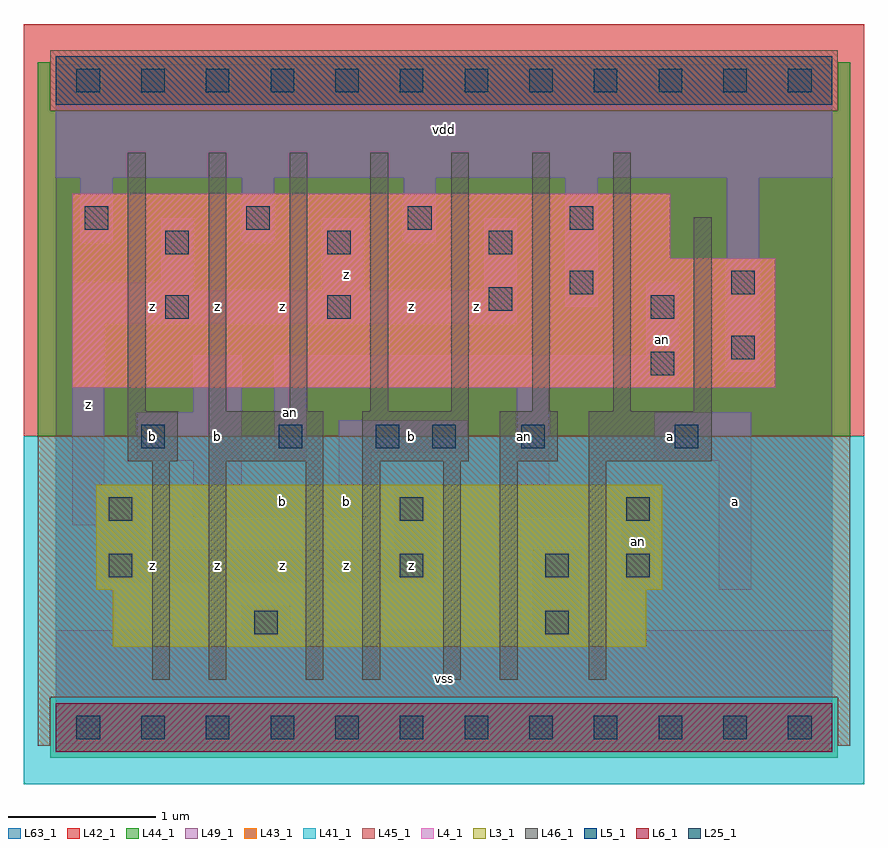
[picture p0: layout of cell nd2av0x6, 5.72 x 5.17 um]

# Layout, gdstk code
import gdstk
lib = gdstk.Library(unit=1e-6, precision=1e-09)
def R(c, l, rs):  # rectangles x0, y0, x1, y1
    for r in rs: c.add(gdstk.rectangle(r[:2], r[2:], *l))
def A(c, l, x, y, w, h, nx, ny, dx, dy):  # array of equal rectangles
    R(c, l, [(x+i*dx, y+j*dy, x+i*dx+w, y+j*dy+h) for i in range(nx) for j in range(ny)])
L3_1 = (3, 1)
L4_1 = (4, 1)
L5_1 = (5, 1)
L6_1 = (6, 1)
L25_1 = (25, 1)
L41_1 = (41, 1)
L42_1 = (42, 1)
L43_1 = (43, 1)
L44_1 = (44, 1)
L45_1 = (45, 1)
L46_1 = (46, 1)
L49_1 = (49, 1)
L63_1 = (63, 1)

nd2av0x6 = lib.new_cell('nd2av0x6')
R(nd2av0x6, L3_1, [(0.385,0.55,4.015,0.935), (0.275,0.935,4.125,1.65)])
R(nd2av0x6, L4_1, [(0.11,2.31,4.895,3.19), (0.11,3.19,4.18,3.63)])
R(nd2av0x6, L5_1, [(0,4.235,5.28,4.565)])
R(nd2av0x6, L6_1, [(0,-0.165,5.28,0.165)])
A(nd2av0x6, L25_1, 0.14, -0.08, 0.16, 0.16, 12, 2, 0.44, 4.4)
A(nd2av0x6, L25_1, 0.745, 3.22, 0.16, 0.16, 3, 1, 1.1, 0)
A(nd2av0x6, L25_1, 0.195, 3.385, 0.16, 0.16, 4, 1, 1.1, 0)
R(nd2av0x6, L25_1, [(1.35,0.635,1.51,0.795), (3.33,0.635,3.49,0.795), (0.36,1.02,0.52,1.18), (2.34,1.02,2.5,1.18), (3.33,1.02,3.49,1.18), (3.88,1.02,4.04,1.18), (0.36,1.405,0.52,1.565), (2.34,1.405,2.5,1.565), (3.88,1.405,4.04,1.565), (0.58,1.9,0.74,2.06), (1.515,1.9,1.675,2.06), (2.175,1.9,2.335,2.06), (2.56,1.9,2.72,2.06), (3.165,1.9,3.325,2.06), (4.21,1.9,4.37,2.06), (4.045,2.395,4.205,2.555), (4.595,2.505,4.755,2.665), (0.745,2.78,0.905,2.94), (1.845,2.78,2.005,2.94), (4.045,2.78,4.205,2.94), (2.945,2.835,3.105,2.995), (3.495,2.945,3.655,3.105), (4.595,2.945,4.755,3.105)])
R(nd2av0x6, L41_1, [(-0.22,-0.385,5.5,1.98)])
R(nd2av0x6, L42_1, [(-0.22,1.98,5.5,4.785)])
R(nd2av0x6, L43_1, [(0,-0.165,5.28,0.165), (0.385,0.55,4.015,0.935), (0.275,0.935,4.125,1.65), (0.11,2.31,4.895,3.19), (0.11,3.19,4.18,3.63), (0,4.235,5.28,4.565)])
R(nd2av0x6, L44_1, [(-0.04,-0.205,5.32,0.205), (-0.125,1.98,5.405,4.195), (-0.125,4.195,-0.04,4.525), (5.32,4.195,5.405,4.525)])
R(nd2av0x6, L45_1, [(-0.125,-0.125,-0.04,0.205), (5.32,-0.125,5.405,0.205), (-0.125,0.205,5.405,1.98), (-0.04,4.195,5.32,4.605)])
A(nd2av0x6, L46_1, 0.49, 2.15, 0.12, 1.76, 7, 1, 0.55, 0)
R(nd2av0x6, L46_1, [(0.655,0.325,0.775,1.81), (1.04,0.325,1.16,1.81), (1.7,0.325,1.82,1.81), (2.085,0.325,2.205,1.81), (2.635,0.325,2.755,1.81), (3.02,0.325,3.14,1.81), (3.625,0.325,3.745,1.81), (0.49,1.81,0.83,2.15), (1.04,1.81,1.82,2.15), (2.085,1.81,2.81,2.15), (3.02,1.81,3.415,2.15), (3.625,1.81,4.46,2.15), (4.34,2.15,4.46,3.47)])
A(nd2av0x6, L49_1, 0.165, 3.3, 0.22, 0.44, 3, 1, 1.1, 0)
R(nd2av0x6, L49_1, [(0,-0.11,5.28,0.66), (1.265,0.66,1.595,0.825), (3.245,0.66,3.575,1.21), (3.85,0.935,4.07,1.43), (4.51,0.935,4.73,1.815), (0.275,0.99,2.585,1.21), (0.275,1.21,0.605,1.375), (2.31,1.21,2.585,1.65), (0.11,1.375,0.605,1.595), (0.935,1.43,2.145,1.65), (3.135,1.43,4.07,1.65), (0.11,1.595,0.33,2.75), (0.935,1.65,1.265,1.815), (1.925,1.65,2.145,1.87), (3.135,1.65,3.355,2.31), (0.55,1.815,1.265,2.145), (1.485,1.815,1.705,2.31), (4.07,1.815,4.73,2.145), (1.925,1.87,2.805,2.09), (0.935,2.145,1.265,2.53), (1.485,2.31,4.235,2.53), (4.565,2.42,4.785,3.74), (4.015,2.53,4.235,3.025), (0.11,2.75,3.135,2.97), (3.465,2.86,3.685,3.74), (0.11,2.97,0.935,3.025), (1.815,2.97,2.09,3.465), (2.915,2.97,3.135,3.465), (0.715,3.025,0.935,3.465), (0,3.74,5.28,4.51)])
R(nd2av0x6, L63_1, [(0,0,5.28,4.4)])
nd2av0x6.add(gdstk.Label('an', (3.19,1.98), layer=49, texttype=1))
nd2av0x6.add(gdstk.Label('z', (0.66,1.1), layer=49, texttype=1))
nd2av0x6.add(gdstk.Label('z', (0.22,2.2), layer=49, texttype=1))
nd2av0x6.add(gdstk.Label('b', (0.66,1.98), layer=49, texttype=1))
nd2av0x6.add(gdstk.Label('z', (0.66,2.86), layer=49, texttype=1))
nd2av0x6.add(gdstk.Label('z', (1.1,1.1), layer=49, texttype=1))
nd2av0x6.add(gdstk.Label('z', (1.54,1.1), layer=49, texttype=1))
nd2av0x6.add(gdstk.Label('b', (1.54,1.54), layer=49, texttype=1))
nd2av0x6.add(gdstk.Label('an', (1.595,2.145), layer=49, texttype=1))
nd2av0x6.add(gdstk.Label('b', (1.1,1.98), layer=49, texttype=1))
nd2av0x6.add(gdstk.Label('z', (1.54,2.86), layer=49, texttype=1))
nd2av0x6.add(gdstk.Label('z', (1.1,2.86), layer=49, texttype=1))
nd2av0x6.add(gdstk.Label('vss', (2.64,0.33), layer=49, texttype=1))
nd2av0x6.add(gdstk.Label('z', (1.98,1.1), layer=49, texttype=1))
nd2av0x6.add(gdstk.Label('b', (1.98,1.54), layer=49, texttype=1))
nd2av0x6.add(gdstk.Label('z', (2.42,1.1), layer=49, texttype=1))
nd2av0x6.add(gdstk.Label('b', (2.42,1.98), layer=49, texttype=1))
nd2av0x6.add(gdstk.Label('z', (2.42,2.86), layer=49, texttype=1))
nd2av0x6.add(gdstk.Label('z', (2.86,2.86), layer=49, texttype=1))
nd2av0x6.add(gdstk.Label('z', (1.98,3.08), layer=49, texttype=1))
nd2av0x6.add(gdstk.Label('vdd', (2.64,4.07), layer=49, texttype=1))
nd2av0x6.add(gdstk.Label('an', (3.96,1.265), layer=49, texttype=1))
nd2av0x6.add(gdstk.Label('an', (3.245,1.98), layer=49, texttype=1))
nd2av0x6.add(gdstk.Label('a', (4.18,1.98), layer=49, texttype=1))
nd2av0x6.add(gdstk.Label('an', (4.125,2.64), layer=49, texttype=1))
nd2av0x6.add(gdstk.Label('a', (4.62,1.54), layer=49, texttype=1))

lib.write_gds('nd2av0x6.gds')
